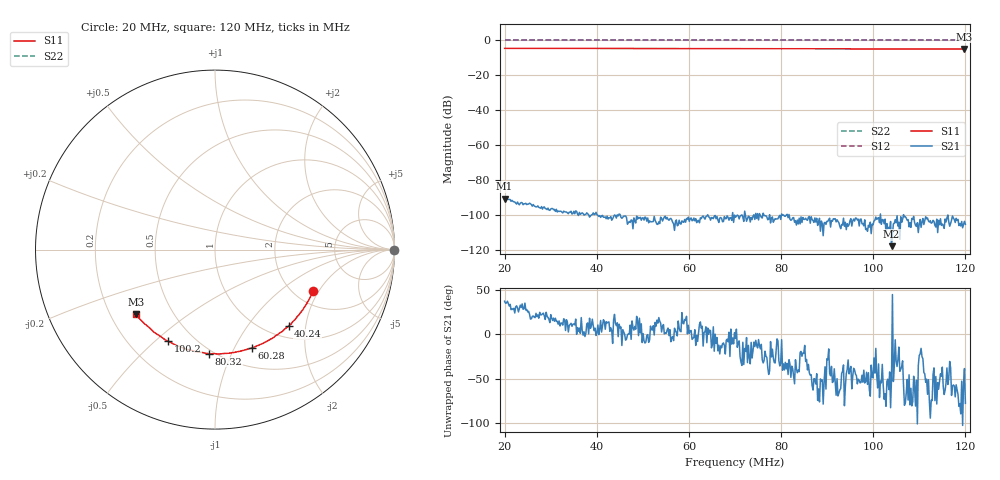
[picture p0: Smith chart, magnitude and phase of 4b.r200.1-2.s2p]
! Anritsu VNA Master:  Model: MS2036C/10/77
! SN:  1601066
! /bd0/18may26.balun/4b.r200.s2p
! Existing Calibration Information:
! TYPE:  Current Settings,  Active Cal Settings
! TIME:  05/26/2018 04:45:09 PM,  05/26/2018 04:28:16 PM
! INTERNAL TEMP:  55.0 C,  56.3 C
! # POINTS:  500,  500
! START FREQ:  20.000 MHz,  20.000 MHz
! STOP FREQ:  120.000 MHz,  120.000 MHz
! SOURCE POWER:  High,  High
! IFBW:  50 Hz,  50 Hz
! AVG FACTOR:  1 ,  1
! REF PLANE 1:  0 mm,  0 mm
! REF PLANE 2:  0 mm,  0 mm
! CAL TYPE:  Full S11,  Full S11
! CAL METHOD:  SOLT,  SOLT
! CAL LINE TYPE:  Coax,  Coax
! DUT PORT 1:  K-Conn(M),  K-Conn(M)
! DUT PORT 2:  K-Conn(M),  K-Conn(M)
! CAL STATUS:  OK: Accuracy High,  --
# GHZ S DB R 50.0
! FREQ.GHZ  S11DB  S11A  S21DB  S21A  S12DB  S12A  S22DB  S22A
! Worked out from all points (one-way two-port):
!   500 points, 20 MHz to 120 MHz, reference 50 ohm
!   highest |S21| = -90.72 dB at 20 MHz (marker M1); lowest = -118.0 dB at 104 MHz (marker M2)
!   lowest |S11| = -4.9 dB at 119.8 MHz (marker M3), VSWR 3.63, Z = 15.4 - j16.3 ohm
!   |S11| at or under -10 dB: nowhere
!   |S22| runs from 0.0 to 0.0 dB; largest |S21 - S12| = 1
!   S11 on the Smith chart (normalised r, x): 20 MHz: 2.51, -1.79; 40.24 MHz: 1.23, -1.61; 60.28 MHz: 0.70, -1.18; 80.32 MHz: 0.47, -0.83; 100.2 MHz: 0.36, -0.55; 120 MHz: 0.31, -0.32
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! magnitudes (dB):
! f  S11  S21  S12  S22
! 20 MHz  -4.5  -90.7  0.0  0.0
! 36.83 MHz  -4.6  -98.9  0.0  0.0
! 38.64 MHz  -4.5  -100.6  0.0  0.0
! 40.24 MHz  -4.6  -100.3  0.0  0.0
! 53.47 MHz  -4.6  -104.1  0.0  0.0
! 60.28 MHz  -4.6  -102.3  0.0  0.0
! 63.29 MHz  -4.7  -101.7  0.0  0.0
! 70.1 MHz  -4.7  -101.5  0.0  0.0
! 80.32 MHz  -4.7  -100.3  0.0  0.0
! 83.33 MHz  -4.8  -105.9  0.0  0.0
! 86.73 MHz  -4.8  -102.7  0.0  0.0
! 88.94 MHz  -4.8  -105.0  0.0  0.0
! 90.54 MHz  -4.8  -102.0  0.0  0.0
! 100.2 MHz  -4.8  -103.5  0.0  0.0
! 101.6 MHz  -4.8  -99.6  0.0  0.0
! 103.4 MHz  -4.9  -107.3  0.0  0.0
! 104 MHz  -4.9  -118.0  0.0  0.0
! 107.6 MHz  -4.8  -102.8  0.0  0.0
! 110.8 MHz  -4.9  -102.2  0.0  0.0
! 117.8 MHz  -4.9  -104.5  0.0  0.0
! 119.8 MHz  -4.9  -103.8  0.0  0.0
! 120 MHz  -4.9  -105.5  0.0  0.0
